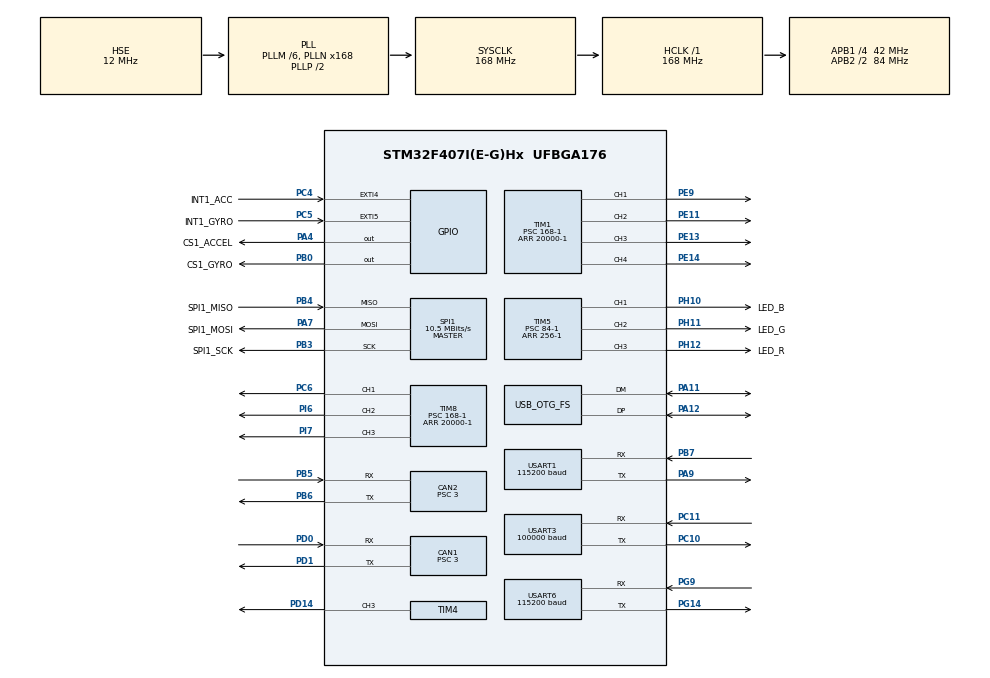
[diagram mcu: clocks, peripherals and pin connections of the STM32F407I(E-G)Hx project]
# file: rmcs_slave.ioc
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CAN1.BS1=CAN_BS1_9TQ
CAN1.BS2=CAN_BS2_4TQ
CAN1.CalculateBaudRate=1000000
CAN1.CalculateTimeBit=1000
CAN1.CalculateTimeQuantum=71.42857142857143
CAN1.NART=DISABLE
CAN1.Prescaler=3
CAN2.BS1=CAN_BS1_9TQ
CAN2.BS2=CAN_BS2_4TQ
CAN2.CalculateBaudRate=1000000
CAN2.CalculateTimeBit=1000
CAN2.CalculateTimeQuantum=71.42857142857143
CAN2.NART=DISABLE
CAN2.Prescaler=3
Mcu.Family=STM32F4
Mcu.Name=STM32F407I(E-G)Hx
Mcu.Package=UFBGA176
NVIC.CAN1_RX0_IRQn=true\:2\:0\:true\:false\:true\:true\:true\:true
NVIC.CAN2_RX0_IRQn=true\:2\:0\:true\:false\:true\:true\:true\:true
NVIC.EXTI4_IRQn=true\:4\:0\:true\:false\:true\:true\:true\:true
NVIC.EXTI9_5_IRQn=true\:4\:0\:true\:false\:true\:true\:true\:true
NVIC.OTG_FS_IRQn=true\:0\:0\:false\:false\:true\:false\:true\:true
NVIC.PriorityGroup=NVIC_PRIORITYGROUP_4
NVIC.SPI1_IRQn=true\:4\:0\:true\:false\:true\:true\:true\:true
NVIC.USART1_IRQn=true\:6\:0\:true\:false\:true\:true\:true\:true
NVIC.USART3_IRQn=true\:6\:0\:true\:false\:true\:true\:true\:true
NVIC.USART6_IRQn=true\:6\:0\:true\:false\:true\:true\:true\:true
PA11.Mode=Device_Only
PA11.Signal=USB_OTG_FS_DM
PA12.Mode=Device_Only
PA12.Signal=USB_OTG_FS_DP
PA13.Mode=Serial_Wire
PA13.Signal=SYS_JTMS-SWDIO
PA14.Mode=Serial_Wire
PA14.Signal=SYS_JTCK-SWCLK
PA4.GPIO_Label=CS1_ACCEL
PA4.GPIO_PuPd=GPIO_PULLUP
PA4.GPIO_Speed=GPIO_SPEED_FREQ_VERY_HIGH
PA4.PinState=GPIO_PIN_SET
PA4.Signal=GPIO_Output
PA7.GPIO_Label=SPI1_MOSI
PA7.Mode=Full_Duplex_Master
PA7.Signal=SPI1_MOSI
PA9.Mode=Asynchronous
PA9.Signal=USART1_TX
PB0.GPIO_Label=CS1_GYRO
PB0.GPIO_PuPd=GPIO_PULLUP
PB0.GPIO_Speed=GPIO_SPEED_FREQ_VERY_HIGH
PB0.PinState=GPIO_PIN_SET
PB0.Signal=GPIO_Output
PB3.GPIO_Label=SPI1_SCK
PB3.Mode=Full_Duplex_Master
PB3.Signal=SPI1_SCK
PB4.GPIO_Label=SPI1_MISO
PB4.Mode=Full_Duplex_Master
PB4.Signal=SPI1_MISO
PB5.Mode=CAN_Activate
PB5.Signal=CAN2_RX
PB6.Mode=CAN_Activate
PB6.Signal=CAN2_TX
PB7.Mode=Asynchronous
PB7.Signal=USART1_RX
PC10.Mode=Asynchronous
PC10.Signal=USART3_TX
PC11.Mode=Asynchronous
PC11.Signal=USART3_RX
PC4.GPIO_Label=INT1_ACC
PC4.Signal=GPXTI4
PC5.GPIO_Label=INT1_GYRO
PC5.Signal=GPXTI5
PD0.Mode=CAN_Activate
PD0.Signal=CAN1_RX
PD1.Mode=CAN_Activate
PD1.Signal=CAN1_TX
PD14.Signal=S_TIM4_CH3
PG14.Mode=Asynchronous
PG14.Signal=USART6_TX
PG9.Mode=Asynchronous
PG9.Signal=USART6_RX
PH0-OSC_IN.Mode=HSE-External-Oscillator
PH0-OSC_IN.Signal=RCC_OSC_IN
PH1-OSC_OUT.Mode=HSE-External-Oscillator
PH1-OSC_OUT.Signal=RCC_OSC_OUT
PH10.GPIO_Label=LED_B
PH10.Signal=S_TIM5_CH1
PH11.GPIO_Label=LED_G
PH11.Signal=S_TIM5_CH2
PH12.GPIO_Label=LED_R
PH12.Signal=S_TIM5_CH3
ProjectManager.HeapSize=0x200
ProjectManager.StackSize=0x400
ProjectManager.TargetToolchain=Makefile
RCC.48MHZClocksFreq_Value=48000000
RCC.AHBFreq_Value=168000000
RCC.APB1CLKDivider=RCC_HCLK_DIV4
RCC.APB1Freq_Value=42000000
RCC.APB1TimFreq_Value=84000000
RCC.APB2CLKDivider=RCC_HCLK_DIV2
RCC.APB2Freq_Value=84000000
RCC.APB2TimFreq_Value=168000000
RCC.CortexFreq_Value=168000000
RCC.HCLKFreq_Value=168000000
RCC.HSE_VALUE=12000000
RCC.HSI_VALUE=16000000
RCC.LSE_VALUE=32768
RCC.PLLM=6
RCC.PLLN=168
RCC.PLLQ=7
RCC.SYSCLKFreq_VALUE=168000000
RCC.SYSCLKSource=RCC_SYSCLKSOURCE_PLLCLK
RCC.VCOOutputFreq_Value=336000000
SH.S_TIM4_CH3.0=TIM4_CH3,PWM Generation3 CH3
SH.S_TIM5_CH1.0=TIM5_CH1,PWM Generation1 CH1
SH.S_TIM5_CH2.0=TIM5_CH2,PWM Generation2 CH2
SH.S_TIM5_CH3.0=TIM5_CH3,PWM Generation3 CH3
SPI1.BaudRatePrescaler=SPI_BAUDRATEPRESCALER_8
SPI1.CLKPhase=SPI_PHASE_2EDGE
SPI1.CLKPolarity=SPI_POLARITY_HIGH
SPI1.CalculateBaudRate=10.5 MBits/s
SPI1.Direction=SPI_DIRECTION_2LINES
SPI1.Mode=SPI_MODE_MASTER
SPI1.VirtualType=VM_MASTER
TIM4.Channel-PWM\ Generation3\ CH3=TIM_CHANNEL_3
TIM4.Prescaler=167
TIM5.Channel-PWM\ Generation1\ CH1=TIM_CHANNEL_1
TIM5.Channel-PWM\ Generation2\ CH2=TIM_CHANNEL_2
TIM5.Channel-PWM\ Generation3\ CH3=TIM_CHANNEL_3
TIM5.Period=256-1
TIM5.Prescaler=84-1
TIM1.Channel-PWM\ Generation1\ CH1=TIM_CHANNEL_1
TIM1.Channel-PWM\ Generation2\ CH2=TIM_CHANNEL_2
TIM1.Channel-PWM\ Generation3\ CH3=TIM_CHANNEL_3
TIM1.Channel-PWM\ Generation4\ CH4=TIM_CHANNEL_4
TIM1.Period=20000-1
TIM1.Prescaler=168-1
TIM8.Channel-PWM\ Generation1\ CH1=TIM_CHANNEL_1
TIM8.Channel-PWM\ Generation2\ CH2=TIM_CHANNEL_2
TIM8.Channel-PWM\ Generation3\ CH3=TIM_CHANNEL_3
TIM8.Period=20000-1
TIM8.Prescaler=168-1
USART1.BaudRate=115200
USART1.VirtualMode=VM_ASYNC
USART3.BaudRate=100000
USART3.Parity=PARITY_EVEN
USART3.StopBits=STOPBITS_1
USART3.VirtualMode=VM_ASYNC
USART3.WordLength=WORDLENGTH_9B
USART6.BaudRate=115200
USART6.VirtualMode=VM_ASYNC
USB_DEVICE.CLASS_NAME_FS=CDC
USB_DEVICE.VirtualMode-CDC_FS=Cdc
USB_DEVICE.VirtualModeFS=Cdc_FS
USB_OTG_FS.VirtualMode=Device_Only
VP_TIM5_VS_ClockSourceINT.Mode=Internal
VP_USB_DEVICE_VS_USB_DEVICE_CDC_FS.Mode=CDC_FS
board=custom
PE9.Mode=PWM Generation1 CH1
PE9.Signal=TIM1_CH1
PE11.Mode=PWM Generation2 CH2
PE11.Signal=TIM1_CH2
PE13.Mode=PWM Generation3 CH3
PE13.Signal=TIM1_CH3
PE14.Mode=PWM Generation4 CH4
PE14.Signal=TIM1_CH4
PC6.Mode=PWM Generation1 CH1
PC6.Signal=TIM8_CH1
PI6.Mode=PWM Generation2 CH2
PI6.Signal=TIM8_CH2
PI7.Mode=PWM Generation3 CH3
PI7.Signal=TIM8_CH3

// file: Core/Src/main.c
/* USER CODE BEGIN Header */
/**
  ******************************************************************************
  * @file           : main.c
  * @brief          : Main program body
  ******************************************************************************
  * @attention
  *
  * Copyright (c) 2023 STMicroelectronics.
  * All rights reserved.
  *
  * This software is licensed under terms that can be found in the LICENSE file
  * in the root directory of this software component.
  * If no LICENSE file comes with this software, it is provided AS-IS.
  *
  ******************************************************************************
  */
/* USER CODE END Header */
#include "main.h"
#include "can.h"
#include "spi.h"
#include "tim.h"
#include "usart.h"
#include "usb_device.h"
#include "gpio.h"

/* USER CODE BEGIN Includes */
#include <assert.h>
/* USER CODE END Includes */

void SystemClock_Config(void);

int main(void)
{

  /* MCU Configuration--------------------------------------------------------*/

  /* Reset of all peripherals, Initializes the Flash interface and the Systick. */
  HAL_Init();

  /* Configure the system clock */
  SystemClock_Config();

  /* USER CODE BEGIN SysInit */

  // Enable DWT (Data Watchpoint and Trace) for delay
  CoreDebug->DEMCR |= CoreDebug_DEMCR_TRCENA_Msk;
  DWT->CYCCNT = 0;
  DWT->CTRL |= DWT_CTRL_CYCCNTENA_Msk;

  // Generate USB PID from STM32 12-byte unique id using simple CRC-16 algorithm.
  extern __ALIGN_BEGIN uint8_t USBD_FS_DeviceDesc[USB_LEN_DEV_DESC] __ALIGN_END;
  uint16_t pid  = 0xFFFF;
  uint8_t *data = (uint8_t*)0x1FFF7A10u;
  size_t len    = 12;
  while (len--) {
    pid ^= *data++;
    for (int i = 0; i < 8; i++) {
      if (pid & 1) pid = (pid >> 1) ^ 0x8408;
      else         pid = (pid >> 1);
    }
  }
  USBD_FS_DeviceDesc[10] = LOBYTE(pid);
  USBD_FS_DeviceDesc[11] = HIBYTE(pid);

  /* USER CODE END SysInit */

  /* Initialize all configured peripherals */
  MX_GPIO_Init();
  MX_SPI1_Init();
  MX_USB_DEVICE_Init();
  MX_CAN1_Init();
  MX_CAN2_Init();
  MX_USART1_UART_Init();
  MX_USART3_UART_Init();
  MX_USART6_UART_Init();
  MX_TIM5_Init();
  MX_TIM4_Init();
  MX_TIM1_Init();
  MX_TIM8_Init();
  /* USER CODE BEGIN 2 */

  AppEntry();
  assert(0);

  /* USER CODE END 2 */

  /* Infinite loop */
  while (1)
  {

  }
}

void SystemClock_Config(void)
{
  RCC_OscInitTypeDef RCC_OscInitStruct = {0};
  RCC_ClkInitTypeDef RCC_ClkInitStruct = {0};

  /** Configure the main internal regulator output voltage
  */
  __HAL_RCC_PWR_CLK_ENABLE();
  __HAL_PWR_VOLTAGESCALING_CONFIG(PWR_REGULATOR_VOLTAGE_SCALE1);

  /** Initializes the RCC Oscillators according to the specified parameters
  * in the RCC_OscInitTypeDef structure.
  */
  RCC_OscInitStruct.OscillatorType = RCC_OSCILLATORTYPE_HSE;
  RCC_OscInitStruct.HSEState = RCC_HSE_ON;
  RCC_OscInitStruct.PLL.PLLState = RCC_PLL_ON;
  RCC_OscInitStruct.PLL.PLLSource = RCC_PLLSOURCE_HSE;
  RCC_OscInitStruct.PLL.PLLM = 6;
  RCC_OscInitStruct.PLL.PLLN = 168;
  RCC_OscInitStruct.PLL.PLLP = RCC_PLLP_DIV2;
  RCC_OscInitStruct.PLL.PLLQ = 7;
  if (HAL_RCC_OscConfig(&RCC_OscInitStruct) != HAL_OK)
  {
    Error_Handler();
  }

  /** Initializes the CPU, AHB and APB buses clocks
  */
  RCC_ClkInitStruct.ClockType = RCC_CLOCKTYPE_HCLK|RCC_CLOCKTYPE_SYSCLK
                              |RCC_CLOCKTYPE_PCLK1|RCC_CLOCKTYPE_PCLK2;
  RCC_ClkInitStruct.SYSCLKSource = RCC_SYSCLKSOURCE_PLLCLK;
  RCC_ClkInitStruct.AHBCLKDivider = RCC_SYSCLK_DIV1;
  RCC_ClkInitStruct.APB1CLKDivider = RCC_HCLK_DIV4;
  RCC_ClkInitStruct.APB2CLKDivider = RCC_HCLK_DIV2;

  if (HAL_RCC_ClockConfig(&RCC_ClkInitStruct, FLASH_LATENCY_5) != HAL_OK)
  {
    Error_Handler();
  }
}

void Error_Handler(void)
{
  __disable_irq();
  while (1)
  {
  }
}
